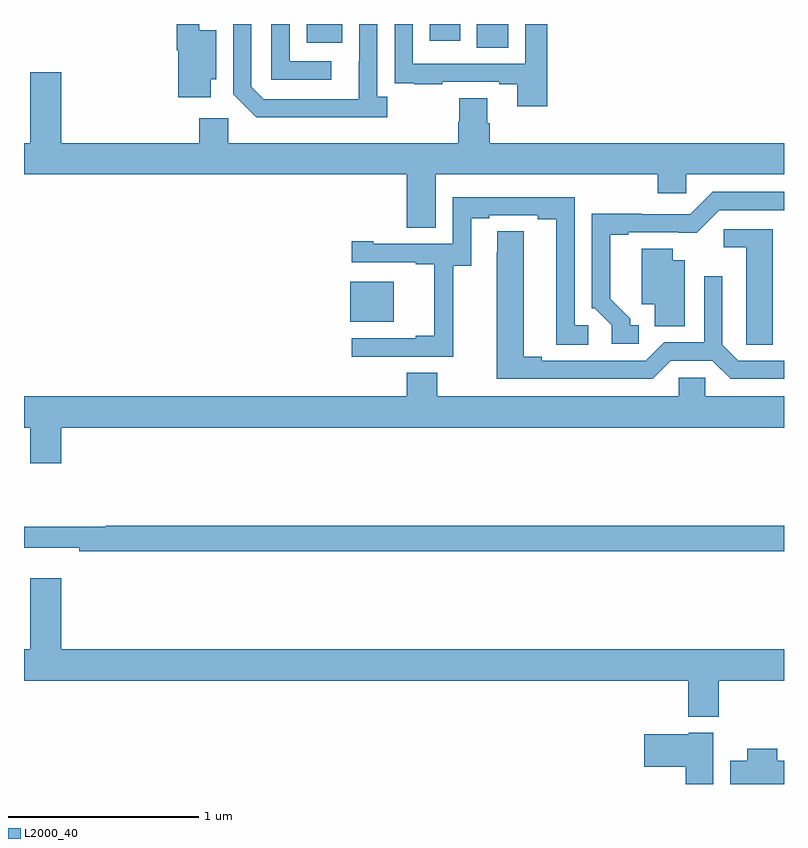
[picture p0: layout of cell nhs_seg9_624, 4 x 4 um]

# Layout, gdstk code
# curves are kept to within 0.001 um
import gdstk
lib = gdstk.Library(unit=1e-6, precision=1e-09)
def R(c, l, rs):  # rectangles x0, y0, x1, y1
    for r in rs: c.add(gdstk.rectangle(r[:2], r[2:], *l))
def P(c, l, *ps):  # polygons
    for p in ps: c.add(gdstk.Polygon(p, *l))
L2000_40 = (2000, 40)

nhs_seg9_624 = lib.new_cell('nhs_seg9_624')
R(nhs_seg9_624, L2000_40, [(142.718,1240.934,142.945,1241.143), (143.384,1242.376,143.548,1242.5), (142.487,1242.401,142.675,1242.5), (143.135,1242.411,143.296,1242.5)])
P(nhs_seg9_624, L2000_40, [(141.982,1242.209),(142.012,1242.209),(142.012,1242.466),(141.923,1242.466),(141.923,1242.5),(141.805,1242.5),(141.805,1242.362),(141.812,1242.362),(141.812,1242.114),(141.982,1242.114)],
  [(143.753,1242.5),(143.637,1242.5),(143.637,1242.291),(143.046,1242.291),(143.046,1242.5),(142.95,1242.5),(142.95,1242.298),(142.951,1242.298),(142.951,1242.189),(143.053,1242.189),(143.053,1242.183),(143.201,1242.183),(143.201,1242.195),(143.501,1242.195),(143.501,1242.183),(143.597,1242.183),(143.597,1242.066),(143.753,1242.066)],
  [(142.618,1242.303),(142.398,1242.303),(142.398,1242.5),(142.302,1242.5),(142.302,1242.207),(142.618,1242.207)],
  [(142.912,1242.118),(142.86,1242.118),(142.86,1242.5),(142.764,1242.5),(142.763,1242.105),(142.263,1242.105),(142.197,1242.171),(142.197,1242.5),(142.101,1242.5),(142.101,1242.129),(142.222,1242.008),(142.912,1242.008)],
  [(143.167,1241.708),(144.335,1241.708),(144.335,1241.61),(144.486,1241.61),(144.486,1241.708),(145,1241.708),(145,1241.872),(143.45,1241.872),(143.45,1241.978),(143.437,1241.978),(143.437,1242.11),(143.29,1242.11),(143.29,1241.985),(143.285,1241.985),(143.285,1241.872),(142.074,1241.872),(142.074,1242.004),(141.923,1242.004),(141.923,1241.872),(141.196,1241.872),(141.196,1242.247),(141.032,1242.247),(141.032,1241.872),(141,1241.872),(141,1241.708),(143.015,1241.708),(143.015,1241.428),(143.167,1241.428)],
  [(144.235,1240.914),(144.19,1240.914),(144.19,1240.949),(144.085,1241.054),(144.085,1241.391),(144.181,1241.391),(144.181,1241.403),(144.542,1241.402),(144.66,1241.52),(145,1241.52),(145,1241.616),(144.624,1241.616),(144.507,1241.499),(144.251,1241.499),(144.251,1241.501),(143.988,1241.501),(143.988,1241.004),(144.003,1241.004),(144.093,1240.914),(144.093,1240.818),(144.235,1240.818)],
  [(143.259,1241.227),(143.353,1241.227),(143.353,1241.478),(143.449,1241.478),(143.449,1241.493),(143.705,1241.493),(143.705,1241.473),(143.801,1241.473),(143.801,1240.813),(143.971,1240.813),(143.971,1240.914),(143.898,1240.914),(143.898,1241.589),(143.256,1241.589),(143.256,1241.343),(142.837,1241.343),(142.837,1241.356),(142.725,1241.356),(142.725,1241.247),(143.063,1241.247),(143.063,1241.235),(143.159,1241.235),(143.159,1240.858),(143.063,1240.858),(143.063,1240.845),(142.725,1240.845),(142.725,1240.749),(143.259,1240.749)],
  [(144.94,1241.421),(144.684,1241.421),(144.684,1241.324),(144.8,1241.324),(144.8,1240.921),(144.801,1240.921),(144.801,1240.813),(144.94,1240.813)],
  [(144.405,1240.728),(144.623,1240.728),(144.719,1240.632),(145,1240.632),(145,1240.728),(144.759,1240.728),(144.675,1240.812),(144.675,1241.173),(144.579,1241.173),(144.579,1240.824),(144.369,1240.824),(144.273,1240.728),(143.725,1240.728),(143.725,1240.748),(143.629,1240.748),(143.629,1241.408),(143.49,1241.408),(143.489,1240.632),(144.309,1240.632)],
  [(144.478,1241.257),(144.415,1241.257),(144.415,1241.318),(144.251,1241.318),(144.251,1241.024),(144.32,1241.024),(144.32,1240.909),(144.478,1240.909)],
  [(145,1240.54),(144.585,1240.54),(144.585,1240.638),(144.447,1240.638),(144.447,1240.54),(143.175,1240.54),(143.175,1240.664),(143.015,1240.664),(143.015,1240.54),(141,1240.54),(141,1240.376),(141.032,1240.376),(141.032,1240.188),(141.196,1240.188),(141.196,1240.376),(145,1240.376)],
  [(145,1239.86),(141.43,1239.86),(141.43,1239.853),(141,1239.853),(141,1239.743),(141.292,1239.743),(141.292,1239.724),(145,1239.724)],
  [(144.657,1239.044),(145,1239.044),(145,1239.208),(141.196,1239.208),(141.196,1239.583),(141.032,1239.583),(141.032,1239.208),(141,1239.208),(141,1239.044),(144.497,1239.044),(144.497,1238.855),(144.657,1238.855)],
  [(144.628,1238.77),(144.498,1238.77),(144.498,1238.761),(144.264,1238.761),(144.264,1238.591),(144.482,1238.591),(144.482,1238.5),(144.628,1238.5)],
  [(145,1238.623),(144.964,1238.623),(144.964,1238.686),(144.806,1238.686),(144.806,1238.623),(144.716,1238.623),(144.716,1238.5),(145,1238.5)])

lib.write_gds('nhs_seg9_624.gds')
